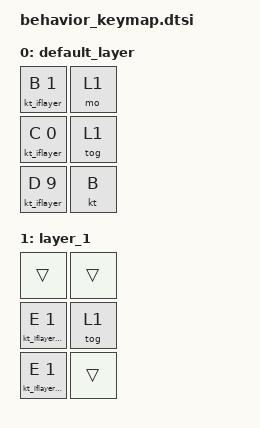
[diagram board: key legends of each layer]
#include <dt-bindings/zmk/keys.h>
#include <behaviors.dtsi>
#include <dt-bindings/zmk/kscan_mock.h>

/*
 * Fork: &kt_iflayer KEY LAYER (PATCH_KEY_TOGGLE_IF_LAYER.md).
 *
 *          base                       layer 1
 * (0,0)    &kt_iflayer B 1            &trans  (falls through to the base binding)
 * (0,1)    &mo 1                      &trans
 * (1,0)    &kt_iflayer C 0            &kt_iflayer_on E 1
 * (1,1)    &tog 1                     &tog 1
 * (2,0)    &kt_iflayer D 9 (no such)  &kt_iflayer_off E 1
 * (2,1)    &kt B                      &trans
 */
&kscan {
    rows = <3>;
};

/ {
    behaviors {
        kt_iflayer_on: kt_iflayer_on {
            compatible = "zmk,behavior-key-toggle-if-layer";
            #binding-cells = <2>;
            toggle-mode = "on";
        };
        kt_iflayer_off: kt_iflayer_off {
            compatible = "zmk,behavior-key-toggle-if-layer";
            #binding-cells = <2>;
            toggle-mode = "off";
        };
    };

    keymap {
        compatible = "zmk,keymap";

        default_layer {
            bindings = <
                &kt_iflayer B 1  &mo 1
                &kt_iflayer C 0  &tog 1
                &kt_iflayer D 9  &kt B>;
        };

        layer_1 {
            bindings = <
                &trans                &trans
                &kt_iflayer_on E 1    &tog 1
                &kt_iflayer_off E 1   &trans>;
        };
    };
};
